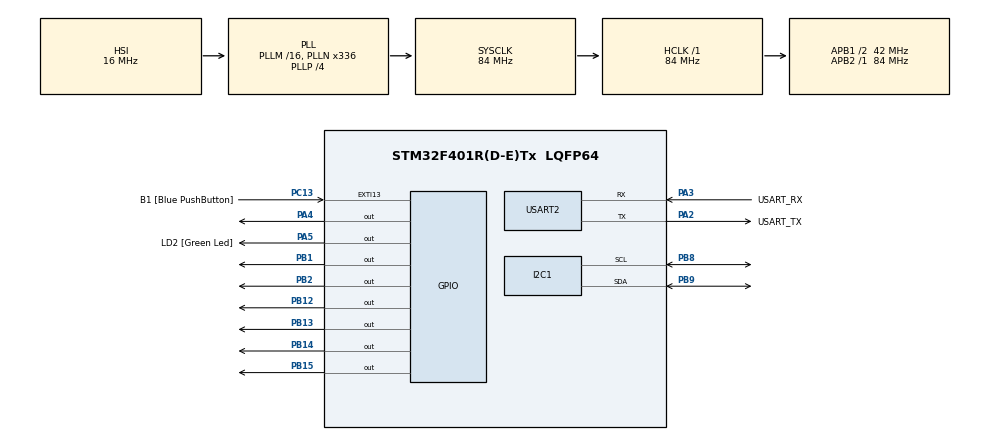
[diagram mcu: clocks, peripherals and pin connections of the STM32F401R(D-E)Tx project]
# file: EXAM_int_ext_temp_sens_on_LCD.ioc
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ADC1.Channel-0\#ChannelRegularConversion=ADC_CHANNEL_TEMPSENSOR
ADC1.DMAContinuousRequests=ENABLE
ADC1.ExternalTrigConv=ADC_EXTERNALTRIGCONV_T3_TRGO
ADC1.NbrOfConversionFlag=1
ADC1.Rank-0\#ChannelRegularConversion=1
ADC1.SamplingTime-0\#ChannelRegularConversion=ADC_SAMPLETIME_480CYCLES
ADC1.master=1
Dma.ADC1.3.Direction=DMA_PERIPH_TO_MEMORY
Dma.ADC1.3.FIFOMode=DMA_FIFOMODE_DISABLE
Dma.ADC1.3.Instance=DMA2_Stream0
Dma.ADC1.3.MemDataAlignment=DMA_MDATAALIGN_HALFWORD
Dma.ADC1.3.MemInc=DMA_MINC_ENABLE
Dma.ADC1.3.Mode=DMA_CIRCULAR
Dma.ADC1.3.PeriphDataAlignment=DMA_PDATAALIGN_HALFWORD
Dma.ADC1.3.PeriphInc=DMA_PINC_DISABLE
Dma.ADC1.3.Priority=DMA_PRIORITY_LOW
Dma.I2C1_RX.1.Direction=DMA_PERIPH_TO_MEMORY
Dma.I2C1_RX.1.FIFOMode=DMA_FIFOMODE_DISABLE
Dma.I2C1_RX.1.Instance=DMA1_Stream0
Dma.I2C1_RX.1.MemDataAlignment=DMA_MDATAALIGN_BYTE
Dma.I2C1_RX.1.MemInc=DMA_MINC_ENABLE
Dma.I2C1_RX.1.Mode=DMA_NORMAL
Dma.I2C1_RX.1.PeriphDataAlignment=DMA_PDATAALIGN_BYTE
Dma.I2C1_RX.1.PeriphInc=DMA_PINC_DISABLE
Dma.I2C1_RX.1.Priority=DMA_PRIORITY_LOW
Dma.I2C1_TX.2.Direction=DMA_MEMORY_TO_PERIPH
Dma.I2C1_TX.2.FIFOMode=DMA_FIFOMODE_DISABLE
Dma.I2C1_TX.2.Instance=DMA1_Stream7
Dma.I2C1_TX.2.MemDataAlignment=DMA_MDATAALIGN_BYTE
Dma.I2C1_TX.2.MemInc=DMA_MINC_ENABLE
Dma.I2C1_TX.2.Mode=DMA_NORMAL
Dma.I2C1_TX.2.PeriphDataAlignment=DMA_PDATAALIGN_BYTE
Dma.I2C1_TX.2.PeriphInc=DMA_PINC_DISABLE
Dma.I2C1_TX.2.Priority=DMA_PRIORITY_LOW
Dma.Request0=USART2_TX
Dma.Request1=I2C1_RX
Dma.Request2=I2C1_TX
Dma.Request3=ADC1
Dma.USART2_TX.0.Direction=DMA_MEMORY_TO_PERIPH
Dma.USART2_TX.0.FIFOMode=DMA_FIFOMODE_DISABLE
Dma.USART2_TX.0.Instance=DMA1_Stream6
Dma.USART2_TX.0.MemDataAlignment=DMA_MDATAALIGN_BYTE
Dma.USART2_TX.0.MemInc=DMA_MINC_ENABLE
Dma.USART2_TX.0.Mode=DMA_NORMAL
Dma.USART2_TX.0.PeriphDataAlignment=DMA_PDATAALIGN_BYTE
Dma.USART2_TX.0.PeriphInc=DMA_PINC_DISABLE
Dma.USART2_TX.0.Priority=DMA_PRIORITY_LOW
Mcu.Family=STM32F4
Mcu.Name=STM32F401R(D-E)Tx
Mcu.Package=LQFP64
NVIC.ADC_IRQn=true\:0\:0\:false\:false\:true\:true\:true\:true
NVIC.DMA1_Stream0_IRQn=true\:0\:0\:false\:false\:true\:false\:true\:true
NVIC.DMA1_Stream6_IRQn=true\:0\:0\:false\:false\:true\:false\:true\:true
NVIC.DMA1_Stream7_IRQn=true\:0\:0\:false\:false\:true\:false\:true\:true
NVIC.DMA2_Stream0_IRQn=true\:0\:0\:false\:false\:true\:false\:true\:true
NVIC.I2C1_EV_IRQn=true\:0\:0\:true\:false\:true\:true\:true\:true
NVIC.PriorityGroup=NVIC_PRIORITYGROUP_1
NVIC.TIM3_IRQn=true\:1\:0\:true\:false\:true\:true\:true\:true
NVIC.USART2_IRQn=true\:0\:0\:true\:false\:true\:true\:true\:true
PA13.GPIO_Label=TMS
PA13.Mode=Serial_Wire
PA13.Signal=SYS_JTMS-SWDIO
PA14.GPIO_Label=TCK
PA14.Mode=Serial_Wire
PA14.Signal=SYS_JTCK-SWCLK
PA2.GPIO_Label=USART_TX
PA2.GPIO_Mode=GPIO_MODE_AF_PP
PA2.GPIO_PuPd=GPIO_NOPULL
PA2.GPIO_Speed=GPIO_SPEED_FREQ_LOW
PA2.Mode=Asynchronous
PA2.Signal=USART2_TX
PA3.GPIO_Label=USART_RX
PA3.GPIO_Mode=GPIO_MODE_AF_PP
PA3.GPIO_PuPd=GPIO_NOPULL
PA3.GPIO_Speed=GPIO_SPEED_FREQ_LOW
PA3.Mode=Asynchronous
PA3.Signal=USART2_RX
PA4.Signal=GPIO_Output
PA5.GPIO_Label=LD2 [Green Led]
PA5.GPIO_Mode=GPIO_MODE_OUTPUT_PP
PA5.GPIO_PuPd=GPIO_NOPULL
PA5.GPIO_Speed=GPIO_SPEED_FREQ_LOW
PA5.Signal=GPIO_Output
PB1.Signal=GPIO_Output
PB12.Signal=GPIO_Output
PB13.Signal=GPIO_Output
PB14.Signal=GPIO_Output
PB15.Signal=GPIO_Output
PB2.Signal=GPIO_Output
PB3.GPIO_Label=SWO
PB3.Signal=SYS_JTDO-SWO
PB8.Mode=I2C
PB8.Signal=I2C1_SCL
PB9.Mode=I2C
PB9.Signal=I2C1_SDA
PC13-ANTI_TAMP.GPIO_Label=B1 [Blue PushButton]
PC13-ANTI_TAMP.GPIO_ModeDefaultEXTI=GPIO_MODE_IT_FALLING
PC13-ANTI_TAMP.GPIO_PuPd=GPIO_NOPULL
PC13-ANTI_TAMP.Signal=GPXTI13
PC14-OSC32_IN.Mode=LSE-External-Oscillator
PC14-OSC32_IN.Signal=RCC_OSC32_IN
PC15-OSC32_OUT.Mode=LSE-External-Oscillator
PC15-OSC32_OUT.Signal=RCC_OSC32_OUT
PH0\ -\ OSC_IN.Mode=HSE-External-Clock-Source
PH0\ -\ OSC_IN.Signal=RCC_OSC_IN
PH1\ -\ OSC_OUT.Mode=HSE-External-Clock-Source
PH1\ -\ OSC_OUT.Signal=RCC_OSC_OUT
ProjectManager.HeapSize=0x200
ProjectManager.StackSize=0x400
ProjectManager.TargetToolchain=STM32CubeIDE
RCC.48MHZClocksFreq_Value=48000000
RCC.AHBFreq_Value=84000000
RCC.APB1CLKDivider=RCC_HCLK_DIV2
RCC.APB1Freq_Value=42000000
RCC.APB1TimFreq_Value=84000000
RCC.APB2Freq_Value=84000000
RCC.APB2TimFreq_Value=84000000
RCC.CortexFreq_Value=84000000
RCC.HCLKFreq_Value=84000000
RCC.HSE_VALUE=8000000
RCC.HSI_VALUE=16000000
RCC.PLLN=336
RCC.PLLP=RCC_PLLP_DIV4
RCC.PLLQ=7
RCC.SYSCLKFreq_VALUE=84000000
RCC.SYSCLKSource=RCC_SYSCLKSOURCE_PLLCLK
RCC.VCOOutputFreq_Value=336000000
TIM3.Period=9999
TIM3.Prescaler=8399
TIM3.TIM_MasterOutputTrigger=TIM_TRGO_UPDATE
USART2.VirtualMode=VM_ASYNC
VP_ADC1_TempSens_Input.Mode=IN-TempSens
VP_TIM3_VS_ClockSourceINT.Mode=Internal
board=NUCLEO-F401RE

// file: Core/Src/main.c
/* USER CODE BEGIN Header */
/**
  ******************************************************************************
  * @file           : main.c
  * @brief          : Main program body
  ******************************************************************************
  * @attention
  *
  * Copyright (c) 2024 STMicroelectronics.
  * All rights reserved.
  *
  * This software is licensed under terms that can be found in the LICENSE file
  * in the root directory of this software component.
  * If no LICENSE file comes with this software, it is provided AS-IS.
  *
  ******************************************************************************
  */
/* USER CODE END Header */
#include "main.h"

/* USER CODE BEGIN Includes */
#include <stdio.h>
#include "../inc/PMDB16_LCD.h"
/* USER CODE END Includes */

/* USER CODE BEGIN PD */
#define NO_DATA 			0
#define ONE_BYTE			1
#define TWO_BYTE			2
#define EIGHT_BITS			8
#define TRANSMIT_DELAY		100
#define SIZE_STRING			100
#define ONE_SECOND			1000

#define ADC_VOLT_VALUES_SIZE 	3
#define VOLTAGE					3.3
#define ADC_VALUES_SIZE			2000
#define RESOLUTION				4096
/* USER CODE END PD */

ADC_HandleTypeDef hadc1;
DMA_HandleTypeDef hdma_adc1;

I2C_HandleTypeDef hi2c1;
DMA_HandleTypeDef hdma_i2c1_rx;
DMA_HandleTypeDef hdma_i2c1_tx;

TIM_HandleTypeDef htim3;

UART_HandleTypeDef huart2;
DMA_HandleTypeDef hdma_usart2_tx;

void SystemClock_Config(void);
static void MX_GPIO_Init(void);
static void MX_DMA_Init(void);
static void MX_USART2_UART_Init(void);
static void MX_I2C1_Init(void);
static void MX_TIM3_Init(void);
static void MX_ADC1_Init(void);

/* USER CODE BEGIN 0 */

uint8_t LM75_ADDR = 0b10010000;			// Address left-shifted by one
uint8_t LM75_TEMP_ADDR = 0x00;			// Address of the pointer register

uint32_t voltages;
uint8_t temp[2];
float temperature = 0;

char str1[100]; // Buffer to store the string to send over LCD top row
char str2[100]; // Buffer to store the string to send over LCD bottom row
char string[100]; // Buffer to store the string to send over USART

void HAL_ADC_ConvCpltCallback(ADC_HandleTypeDef *hadc)
{
	HAL_I2C_Master_Receive_DMA(&hi2c1, LM75_ADDR+1, temp, 2);
}

void HAL_I2C_MasterRxCpltCallback(I2C_HandleTypeDef *hi2c)
{
	if (hi2c->Instance == I2C1)
	{
		temperature = temp[0]<<8 | temp[1];
		float vtemp = 25 + ((((voltages * VOLTAGE) / RESOLUTION) - 0.76 ) / 0.025);
		float temp_c = temperature/256.0;

		snprintf(str1, sizeof(str1), "T_EMB=%.3f C\n", vtemp);
		snprintf(str2, sizeof(str2), "T_I2C=%.3f C\n", temp_c);

		lcd_println(str1, 0);
		lcd_println(str2, 1);

		if (temp_c > vtemp)
		{
			snprintf(string, sizeof(string), "The highest sensor is the external one : %.3f C\n", temp_c);
			HAL_UART_Transmit_DMA(&huart2, (uint8_t*)string, sizeof(string));
		}

		else if (temp_c < vtemp)
		{
			snprintf(string, sizeof(string), "The highest sensor is the internal one : %.3f C\n", vtemp);
			HAL_UART_Transmit_DMA(&huart2, (uint8_t*)string, sizeof(string));
		}
		else
		{
			snprintf(string, sizeof(string), "They have the same value\n");
			HAL_UART_Transmit_DMA(&huart2, (uint8_t*)string, sizeof(string));
		}
	}
}

/* USER CODE END 0 */

int main(void)
{

  /* MCU Configuration--------------------------------------------------------*/

  /* Reset of all peripherals, Initializes the Flash interface and the Systick. */
  HAL_Init();

  /* Configure the system clock */
  SystemClock_Config();

  /* Initialize all configured peripherals */
  MX_GPIO_Init();
  MX_DMA_Init();
  MX_USART2_UART_Init();
  MX_I2C1_Init();
  MX_TIM3_Init();
  MX_ADC1_Init();
  /* USER CODE BEGIN 2 */

  /** LM75 initialization -> set up pointer register to temperature sensor **/
  if(HAL_I2C_Master_Transmit(&hi2c1, LM75_ADDR , &LM75_TEMP_ADDR, 2, 10) != HAL_OK)
  {
	  Error_Handler();
  }

  /** Start the timer (1 sec) **/
  if (HAL_TIM_Base_Start_IT(&htim3) != HAL_OK)
  {
      Error_Handler();
  }

  /** Start the ADC **/
  if (HAL_ADC_Start_DMA(&hadc1, &voltages, 1) != HAL_OK)
  {
	  Error_Handler();
  }

  lcd_initialize();
  lcd_backlight_ON();

  /* USER CODE END 2 */

  /* Infinite loop */
  while (1)
  {

  }
}

void SystemClock_Config(void)
{
  RCC_OscInitTypeDef RCC_OscInitStruct = {0};
  RCC_ClkInitTypeDef RCC_ClkInitStruct = {0};

  /** Configure the main internal regulator output voltage
  */
  __HAL_RCC_PWR_CLK_ENABLE();
  __HAL_PWR_VOLTAGESCALING_CONFIG(PWR_REGULATOR_VOLTAGE_SCALE2);

  /** Initializes the RCC Oscillators according to the specified parameters
  * in the RCC_OscInitTypeDef structure.
  */
  RCC_OscInitStruct.OscillatorType = RCC_OSCILLATORTYPE_HSI;
  RCC_OscInitStruct.HSIState = RCC_HSI_ON;
  RCC_OscInitStruct.HSICalibrationValue = RCC_HSICALIBRATION_DEFAULT;
  RCC_OscInitStruct.PLL.PLLState = RCC_PLL_ON;
  RCC_OscInitStruct.PLL.PLLSource = RCC_PLLSOURCE_HSI;
  RCC_OscInitStruct.PLL.PLLM = 16;
  RCC_OscInitStruct.PLL.PLLN = 336;
  RCC_OscInitStruct.PLL.PLLP = RCC_PLLP_DIV4;
  RCC_OscInitStruct.PLL.PLLQ = 7;
  if (HAL_RCC_OscConfig(&RCC_OscInitStruct) != HAL_OK)
  {
    Error_Handler();
  }

  /** Initializes the CPU, AHB and APB buses clocks
  */
  RCC_ClkInitStruct.ClockType = RCC_CLOCKTYPE_HCLK|RCC_CLOCKTYPE_SYSCLK
                              |RCC_CLOCKTYPE_PCLK1|RCC_CLOCKTYPE_PCLK2;
  RCC_ClkInitStruct.SYSCLKSource = RCC_SYSCLKSOURCE_PLLCLK;
  RCC_ClkInitStruct.AHBCLKDivider = RCC_SYSCLK_DIV1;
  RCC_ClkInitStruct.APB1CLKDivider = RCC_HCLK_DIV2;
  RCC_ClkInitStruct.APB2CLKDivider = RCC_HCLK_DIV1;

  if (HAL_RCC_ClockConfig(&RCC_ClkInitStruct, FLASH_LATENCY_2) != HAL_OK)
  {
    Error_Handler();
  }
}

static void MX_ADC1_Init(void)
{

  ADC_ChannelConfTypeDef sConfig = {0};

  /** Configure the global features of the ADC (Clock, Resolution, Data Alignment and number of conversion)
  */
  hadc1.Instance = ADC1;
  hadc1.Init.ClockPrescaler = ADC_CLOCK_SYNC_PCLK_DIV4;
  hadc1.Init.Resolution = ADC_RESOLUTION_12B;
  hadc1.Init.ScanConvMode = DISABLE;
  hadc1.Init.ContinuousConvMode = DISABLE;
  hadc1.Init.DiscontinuousConvMode = DISABLE;
  hadc1.Init.ExternalTrigConvEdge = ADC_EXTERNALTRIGCONVEDGE_RISING;
  hadc1.Init.ExternalTrigConv = ADC_EXTERNALTRIGCONV_T3_TRGO;
  hadc1.Init.DataAlign = ADC_DATAALIGN_RIGHT;
  hadc1.Init.NbrOfConversion = 1;
  hadc1.Init.DMAContinuousRequests = ENABLE;
  hadc1.Init.EOCSelection = ADC_EOC_SINGLE_CONV;
  if (HAL_ADC_Init(&hadc1) != HAL_OK)
  {
    Error_Handler();
  }

  /** Configure for the selected ADC regular channel its corresponding rank in the sequencer and its sample time.
  */
  sConfig.Channel = ADC_CHANNEL_TEMPSENSOR;
  sConfig.Rank = 1;
  sConfig.SamplingTime = ADC_SAMPLETIME_480CYCLES;
  if (HAL_ADC_ConfigChannel(&hadc1, &sConfig) != HAL_OK)
  {
    Error_Handler();
  }

}

static void MX_I2C1_Init(void)
{

  hi2c1.Instance = I2C1;
  hi2c1.Init.ClockSpeed = 100000;
  hi2c1.Init.DutyCycle = I2C_DUTYCYCLE_2;
  hi2c1.Init.OwnAddress1 = 0;
  hi2c1.Init.AddressingMode = I2C_ADDRESSINGMODE_7BIT;
  hi2c1.Init.DualAddressMode = I2C_DUALADDRESS_DISABLE;
  hi2c1.Init.OwnAddress2 = 0;
  hi2c1.Init.GeneralCallMode = I2C_GENERALCALL_DISABLE;
  hi2c1.Init.NoStretchMode = I2C_NOSTRETCH_DISABLE;
  if (HAL_I2C_Init(&hi2c1) != HAL_OK)
  {
    Error_Handler();
  }

}

static void MX_TIM3_Init(void)
{

  TIM_ClockConfigTypeDef sClockSourceConfig = {0};
  TIM_MasterConfigTypeDef sMasterConfig = {0};

  htim3.Instance = TIM3;
  htim3.Init.Prescaler = 8399;
  htim3.Init.CounterMode = TIM_COUNTERMODE_UP;
  htim3.Init.Period = 9999;
  htim3.Init.ClockDivision = TIM_CLOCKDIVISION_DIV1;
  htim3.Init.AutoReloadPreload = TIM_AUTORELOAD_PRELOAD_DISABLE;
  if (HAL_TIM_Base_Init(&htim3) != HAL_OK)
  {
    Error_Handler();
  }
  sClockSourceConfig.ClockSource = TIM_CLOCKSOURCE_INTERNAL;
  if (HAL_TIM_ConfigClockSource(&htim3, &sClockSourceConfig) != HAL_OK)
  {
    Error_Handler();
  }
  sMasterConfig.MasterOutputTrigger = TIM_TRGO_UPDATE;
  sMasterConfig.MasterSlaveMode = TIM_MASTERSLAVEMODE_DISABLE;
  if (HAL_TIMEx_MasterConfigSynchronization(&htim3, &sMasterConfig) != HAL_OK)
  {
    Error_Handler();
  }

}

static void MX_USART2_UART_Init(void)
{

  huart2.Instance = USART2;
  huart2.Init.BaudRate = 115200;
  huart2.Init.WordLength = UART_WORDLENGTH_8B;
  huart2.Init.StopBits = UART_STOPBITS_1;
  huart2.Init.Parity = UART_PARITY_NONE;
  huart2.Init.Mode = UART_MODE_TX_RX;
  huart2.Init.HwFlowCtl = UART_HWCONTROL_NONE;
  huart2.Init.OverSampling = UART_OVERSAMPLING_16;
  if (HAL_UART_Init(&huart2) != HAL_OK)
  {
    Error_Handler();
  }

}

static void MX_DMA_Init(void)
{

  /* DMA controller clock enable */
  __HAL_RCC_DMA1_CLK_ENABLE();
  __HAL_RCC_DMA2_CLK_ENABLE();

  /* DMA interrupt init */
  /* DMA1_Stream0_IRQn interrupt configuration */
  HAL_NVIC_SetPriority(DMA1_Stream0_IRQn, 0, 0);
  HAL_NVIC_EnableIRQ(DMA1_Stream0_IRQn);
  /* DMA1_Stream6_IRQn interrupt configuration */
  HAL_NVIC_SetPriority(DMA1_Stream6_IRQn, 0, 0);
  HAL_NVIC_EnableIRQ(DMA1_Stream6_IRQn);
  /* DMA1_Stream7_IRQn interrupt configuration */
  HAL_NVIC_SetPriority(DMA1_Stream7_IRQn, 0, 0);
  HAL_NVIC_EnableIRQ(DMA1_Stream7_IRQn);
  /* DMA2_Stream0_IRQn interrupt configuration */
  HAL_NVIC_SetPriority(DMA2_Stream0_IRQn, 0, 0);
  HAL_NVIC_EnableIRQ(DMA2_Stream0_IRQn);

}

static void MX_GPIO_Init(void)
{
  GPIO_InitTypeDef GPIO_InitStruct = {0};

  /* GPIO Ports Clock Enable */
  __HAL_RCC_GPIOC_CLK_ENABLE();
  __HAL_RCC_GPIOH_CLK_ENABLE();
  __HAL_RCC_GPIOA_CLK_ENABLE();
  __HAL_RCC_GPIOB_CLK_ENABLE();

  /*Configure GPIO pin Output Level */
  HAL_GPIO_WritePin(GPIOA, GPIO_PIN_4|LD2_Pin, GPIO_PIN_RESET);

  /*Configure GPIO pin Output Level */
  HAL_GPIO_WritePin(GPIOB, GPIO_PIN_1|GPIO_PIN_2|GPIO_PIN_12|GPIO_PIN_13
                          |GPIO_PIN_14|GPIO_PIN_15, GPIO_PIN_RESET);

  /*Configure GPIO pin : B1_Pin */
  GPIO_InitStruct.Pin = B1_Pin;
  GPIO_InitStruct.Mode = GPIO_MODE_IT_FALLING;
  GPIO_InitStruct.Pull = GPIO_NOPULL;
  HAL_GPIO_Init(B1_GPIO_Port, &GPIO_InitStruct);

  /*Configure GPIO pins : PA4 LD2_Pin */
  GPIO_InitStruct.Pin = GPIO_PIN_4|LD2_Pin;
  GPIO_InitStruct.Mode = GPIO_MODE_OUTPUT_PP;
  GPIO_InitStruct.Pull = GPIO_NOPULL;
  GPIO_InitStruct.Speed = GPIO_SPEED_FREQ_LOW;
  HAL_GPIO_Init(GPIOA, &GPIO_InitStruct);

  /*Configure GPIO pins : PB1 PB2 PB12 PB13
                           PB14 PB15 */
  GPIO_InitStruct.Pin = GPIO_PIN_1|GPIO_PIN_2|GPIO_PIN_12|GPIO_PIN_13
                          |GPIO_PIN_14|GPIO_PIN_15;
  GPIO_InitStruct.Mode = GPIO_MODE_OUTPUT_PP;
  GPIO_InitStruct.Pull = GPIO_NOPULL;
  GPIO_InitStruct.Speed = GPIO_SPEED_FREQ_LOW;
  HAL_GPIO_Init(GPIOB, &GPIO_InitStruct);

}

void Error_Handler(void)
{
  __disable_irq();
  while (1)
  {
  }
}
